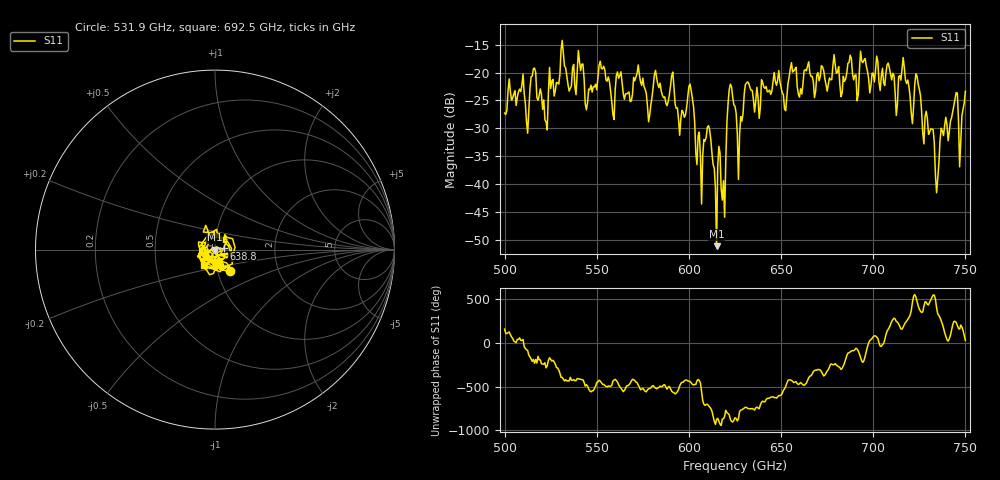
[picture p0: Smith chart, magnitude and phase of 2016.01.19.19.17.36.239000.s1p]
!Created with skrf (http://scikit-rf.org).
# GHz S RI R 50.0
!freq ReS11 ImS11
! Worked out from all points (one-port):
!   401 points, 500 GHz to 750 GHz, reference 50 ohm
!   lowest |S11| = -51.2 dB at 615 GHz (marker M1), VSWR 1.01, Z = 49.7 - j0.0961 ohm
!   |S11| at or under -10 dB: start of sweep to end of sweep
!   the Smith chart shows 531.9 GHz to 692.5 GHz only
!   S11 on the Smith chart (normalised r, x): 531.9 GHz: 1.15, -0.29; 638.8 GHz: 1.10, +0.01; 692.5 GHz: 0.87, -0.15
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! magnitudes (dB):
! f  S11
! 500 GHz  -27.3
! 512.5 GHz  -30.9
! 515.6 GHz  -19.3
! 521.9 GHz  -28.5
! 531.2 GHz  -14.2
! 531.9 GHz  -16.6
! 545 GHz  -25.4
! 562.5 GHz  -20.5
! 578.8 GHz  -27.6
! 590.6 GHz  -20.6
! 593.8 GHz  -26.4
! 601.2 GHz  -23.3
! 605.6 GHz  -30.7
! 610.6 GHz  -29.5
! 615 GHz  -51.2
! 618.8 GHz  -39.4
! 622.5 GHz  -22.1
! 625 GHz  -26.1
! 627.5 GHz  -31.0
! 631.2 GHz  -21.9
! 638.8 GHz  -26.3
! 656.2 GHz  -19.9
! 687.5 GHz  -16.9
! 692.5 GHz  -19.6
! 718.8 GHz  -21.3
! 724.4 GHz  -22.1
! 734.4 GHz  -41.6
! 750 GHz  -23.4
